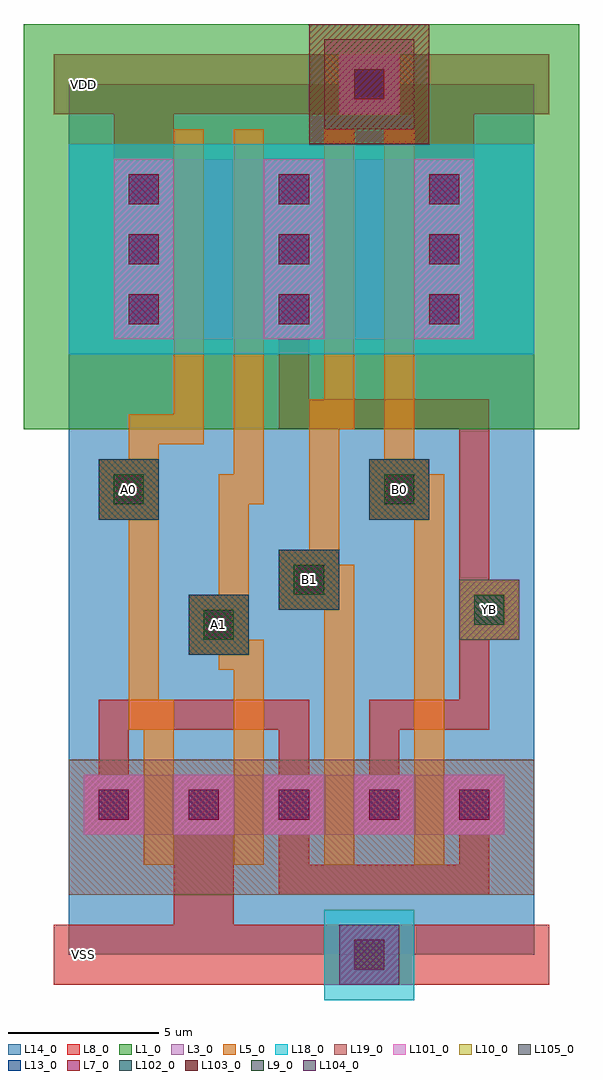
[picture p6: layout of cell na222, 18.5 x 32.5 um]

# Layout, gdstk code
import gdstk
lib = gdstk.Library(unit=1e-6, precision=1e-09)
def R(c, l, rs):  # rectangles x0, y0, x1, y1
    for r in rs: c.add(gdstk.rectangle(r[:2], r[2:], *l))
L1_0 = (1, 0)
L3_0 = (3, 0)
L5_0 = (5, 0)
L7_0 = (7, 0)
L8_0 = (8, 0)
L9_0 = (9, 0)
L10_0 = (10, 0)
L13_0 = (13, 0)
L14_0 = (14, 0)
L18_0 = (18, 0)
L19_0 = (19, 0)
L101_0 = (101, 0)
L102_0 = (102, 0)
L103_0 = (103, 0)
L104_0 = (104, 0)
L105_0 = (105, 0)

dcont = lib.new_cell('dcont')
R(dcont, L3_0, [(-1,-1,1,1)])
R(dcont, L7_0, [(-0.5,-0.5,0.5,0.5)])
R(dcont, L8_0, [(-1,-1,1,1)])
R(dcont, L13_0, [(-0.5,-0.5,0.5,0.5)])
R(dcont, L101_0, [(-1,-1,1,1)])
dcont.add(gdstk.Label('dcont', (0,0), layer=13, texttype=0))

pcont = lib.new_cell('pcont')
R(pcont, L5_0, [(-1,-1,1,1)])
R(pcont, L7_0, [(-0.5,-0.5,0.5,0.5)])
R(pcont, L8_0, [(-1,-1,1,1)])
R(pcont, L102_0, [(-1,-1,1,1)])
pcont.add(gdstk.Label('pcont', (0,0), layer=13, texttype=0))

via = lib.new_cell('Via')
R(via, L8_0, [(-1,-1,1,1)])
R(via, L9_0, [(-0.5,-0.5,0.5,0.5)])
R(via, L10_0, [(-1,-1,1,1)])
R(via, L13_0, [(-0.5,-0.5,0.5,0.5)])
R(via, L105_0, [(-1,-1,1,1)])
via.add(gdstk.Label('via', (0,0), layer=13, texttype=0))

nsubcont = lib.new_cell('nsubcont')
R(nsubcont, L1_0, [(-2,-2,2,2)])
R(nsubcont, L19_0, [(-1.5,-1.5,1.5,1.5)])
R(nsubcont, L103_0, [(-2,-2,2,2)])
nsubcont.add(gdstk.Reference(dcont, (0,0)))
nsubcont.add(gdstk.Label('NScont', (0,0), layer=13, texttype=0))

psubcont = lib.new_cell('psubcont')
R(psubcont, L18_0, [(-1.5,-1.5,1.5,1.5)])
R(psubcont, L104_0, [(-1,-1,1,1)])
psubcont.add(gdstk.Reference(dcont, (0,0)))
psubcont.add(gdstk.Label('PScon', (0,0), layer=13, texttype=0))

na222 = lib.new_cell('na222')
R(na222, L1_0, [(-1.5,17.5,17,31)])
R(na222, L3_0, [(0.5,4,8.5,6), (8.5,4,14.5,6), (1.5,20.5,13.5,26.5)])
R(na222, L8_0, [(-0.5,-1,16,1), (-0.5,-1,16,1), (4,10,6,12), (4,10,6,12), (13,10.5,15,12.5), (13,10.5,15,12.5), (7,11.5,9,13.5), (7,11.5,9,13.5), (1,14.5,3,16.5), (1,14.5,3,16.5), (10,14.5,12,16.5), (10,14.5,12,16.5), (-0.5,28,16,30), (-0.5,28,16,30)])
R(na222, L10_0, [(4,10,6,12), (4,10,6,12), (13,10.5,15,12.5), (13,10.5,15,12.5), (7,11.5,9,13.5), (7,11.5,9,13.5), (1,14.5,3,16.5), (1,14.5,3,16.5), (10,14.5,12,16.5), (10,14.5,12,16.5)])
R(na222, L14_0, [(0,0,15.5,29)])
R(na222, L18_0, [(0,20,15.5,27)])
R(na222, L19_0, [(0,2,15.5,6.5)])
R(na222, L105_0, [(4,10,6,12), (13,10.5,15,12.5), (7,11.5,9,13.5), (1,14.5,3,16.5), (10,14.5,12,16.5)])
na222.add(gdstk.FlexPath([(4,27),(4,17.5),(2.5,17.5),(2.5,8),(3,8),(3,3.5)], 1, ends="extended", simple_path=True, layer=5, datatype=0))  # L5_0
na222.add(gdstk.FlexPath([(6,27),(6,15.5),(5.5,15.5),(5.5,10),(6,10),(6,3.5)], 1, ends="extended", simple_path=True, layer=5, datatype=0))  # L5_0
na222.add(gdstk.FlexPath([(9,27),(9,18),(8.5,18),(8.5,12.5),(9,12.5),(9,3.5)], 1, ends="extended", simple_path=True, layer=5, datatype=0))  # L5_0
na222.add(gdstk.FlexPath([(12,3.5),(12,15.5),(11,15.5),(11,27)], 1, ends="extended", simple_path=True, layer=5, datatype=0))  # L5_0
na222.add(gdstk.FlexPath([(2.5,21.5),(2.5,28.5)], 2, ends="extended", simple_path=True, layer=8, datatype=0))  # L8_0
na222.add(gdstk.FlexPath([(4.5,1),(4.5,5)], 2, ends="extended", simple_path=True, layer=8, datatype=0))  # L8_0
na222.add(gdstk.FlexPath([(13.5,5.5),(13.5,2.5),(7.5,2.5),(7.5,8),(1.5,8),(1.5,5)], 1, ends="extended", simple_path=True, layer=8, datatype=0))  # L8_0
na222.add(gdstk.FlexPath([(7.5,21.5),(7.5,25.5)], 1.4, ends="extended", simple_path=True, layer=8, datatype=0))  # L8_0
na222.add(gdstk.FlexPath([(7.5,20.5),(7.5,18),(13.5,18),(13.5,8),(10.5,8),(10.5,5.5)], 1, ends="extended", simple_path=True, layer=8, datatype=0))  # L8_0
na222.add(gdstk.FlexPath([(12.5,21.5),(12.5,28.5)], 2, ends="extended", simple_path=True, layer=8, datatype=0))  # L8_0
na222.add(gdstk.Reference(dcont, (7.5,23.5)))
na222.add(gdstk.Reference(dcont, (1.5,5)))
na222.add(gdstk.Reference(pcont, (2,15.5)))
na222.add(gdstk.Reference(via, (11,15.5)))
na222.add(gdstk.Reference(dcont, (7.5,25.5)))
na222.add(gdstk.Reference(dcont, (7.5,5)))
na222.add(gdstk.Reference(via, (14,11.5)))
na222.add(gdstk.Reference(via, (5,11)))
na222.add(gdstk.Reference(dcont, (12.5,25.5)))
na222.add(gdstk.Reference(nsubcont, (10,29)))
na222.add(gdstk.Reference(dcont, (2.5,21.5)))
na222.add(gdstk.Reference(via, (8,12.5)))
na222.add(gdstk.Reference(dcont, (4.5,5)))
na222.add(gdstk.Reference(pcont, (8,12.5)))
na222.add(gdstk.Reference(dcont, (10.5,5)))
na222.add(gdstk.Reference(via, (2,15.5)))
na222.add(gdstk.Reference(dcont, (2.5,23.5)))
na222.add(gdstk.Reference(dcont, (12.5,21.5)))
na222.add(gdstk.Reference(dcont, (2.5,25.5)))
na222.add(gdstk.Reference(pcont, (11,15.5)))
na222.add(gdstk.Reference(psubcont, (10,0)))
na222.add(gdstk.Reference(pcont, (5,11)))
na222.add(gdstk.Reference(dcont, (7.5,21.5)))
na222.add(gdstk.Reference(dcont, (12.5,23.5)))
na222.add(gdstk.Reference(dcont, (13.5,5)))
na222.add(gdstk.Label('VDD', (0.5,29), layer=8, texttype=0))
na222.add(gdstk.Label('VSS', (0.5,0), layer=8, texttype=0))
na222.add(gdstk.Label('B0', (11,15.5), layer=10, texttype=0))
na222.add(gdstk.Label('YB', (14,11.5), layer=10, texttype=0))
na222.add(gdstk.Label('A0', (2,15.5), layer=10, texttype=0))
na222.add(gdstk.Label('A1', (5,11), layer=10, texttype=0))
na222.add(gdstk.Label('B1', (8,12.5), layer=10, texttype=0))

lib.write_gds('na222.gds')
